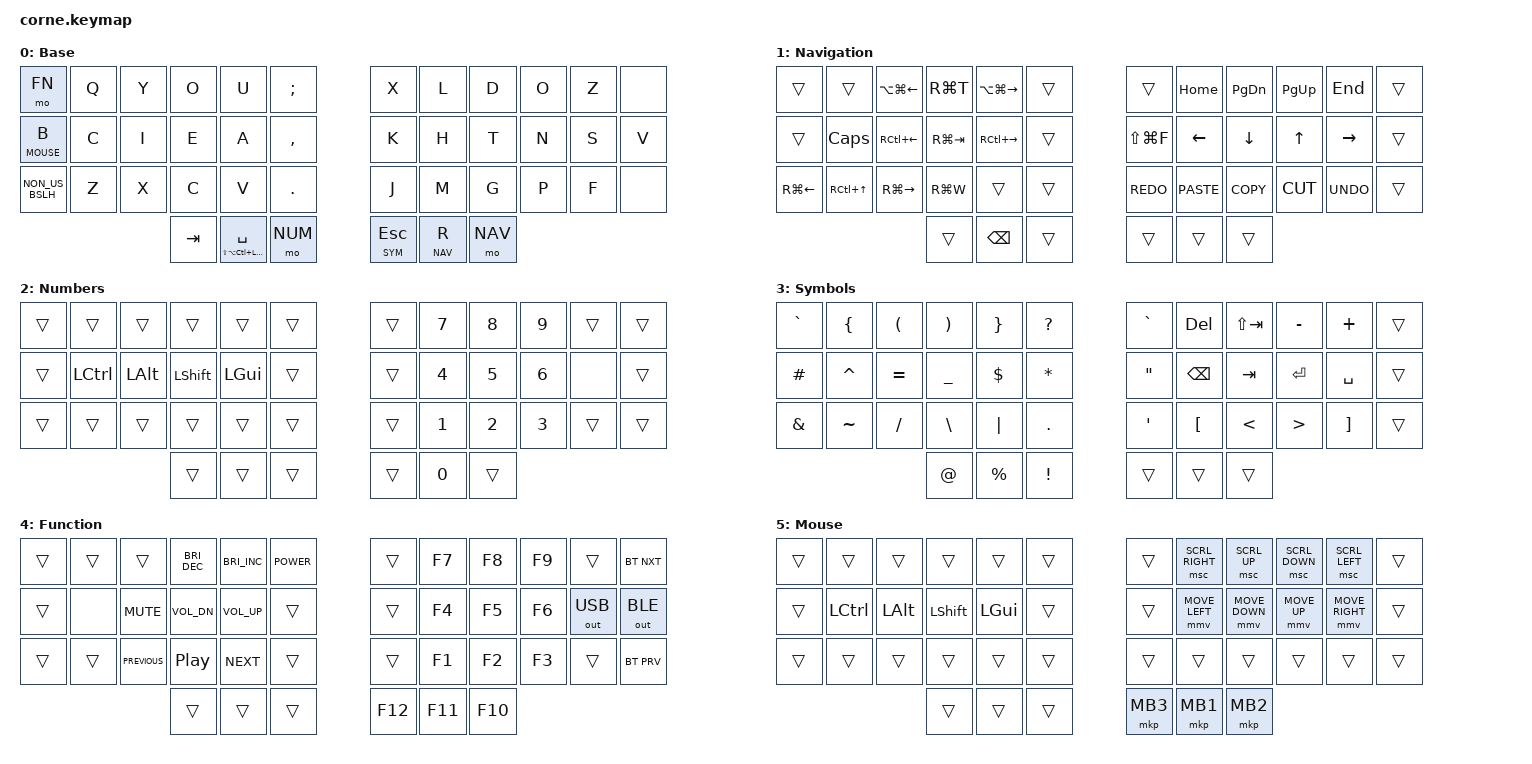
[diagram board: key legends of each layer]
/*
 * Copyright (c) 2020 The ZMK Contributors
 *
 * SPDX-License-Identifier: MIT
 */

#include <behaviors.dtsi>
#include <dt-bindings/zmk/keys.h>
#include <dt-bindings/zmk/bt.h>
#include <dt-bindings/zmk/outputs.h>
#include <dt-bindings/zmk/ext_power.h>

#define ZMK_POINTING_DEFAULT_MOVE_VAL 3000
#define ZMK_POINTING_DEFAULT_SCRL_VAL 3000    // should use the same if smooth scrolling is enabled

#include <dt-bindings/zmk/pointing.h>

#define BASE 0
#define NAV 1
#define NUM 2
#define SYM 3
#define FN 4
#define MOUSE 5

/ {
   keymap {
       compatible = "zmk,keymap";

       base_layer {
           display-name = "Base";
           bindings = <
//    ┌────────────┬───┬───┬───┬─────┬──────────────┐                         ┌──────────┬────────┬───┬───┬───┬─────┐
//    │   mo FN    │ Q │ Y │ O │  U  │      ;       │                         │    X     │   L    │ D │ O │ Z │     │
//    ├────────────┼───┼───┼───┼─────┼──────────────┤                         ├──────────┼────────┼───┼───┼───┼─────┤
//    │ lt MOUSE B │ C │ I │ E │  A  │      ,       │                         │    K     │   H    │ T │ N │ S │  V  │
//    ├────────────┼───┼───┼───┼─────┼──────────────┤                         ├──────────┼────────┼───┼───┼───┼─────┤
//    │     ä      │ Z │ X │ C │  V  │      .       │                         │    J     │   M    │ G │ P │ F │     │
//    └────────────┴───┴───┴───┼─────┼──────────────┼────────┐   ┌────────────┼──────────┼────────┼───┴───┴───┴─────┘
//                             │ tab │ mt hyper spc │ mo NUM │   │ lt SYM esc │ lt NAV R │ mo NAV │
//                             └─────┴──────────────┴────────┘   └────────────┴──────────┴────────┘
  &mo FN            &kp Q   &kp Y   &kp O   &kp U     &kp SEMICOLON                                                &kp X       &kp L     &kp D   &kp O   &kp Z   &none
  &lt MOUSE B       &kp C   &kp I   &kp E   &kp A     &kp COMMA                                                    &kp K       &kp H     &kp T   &kp N   &kp S   &kp V
  &kp NON_US_BSLH   &kp Z   &kp X   &kp C   &kp V     &kp PERIOD                                                   &kp J       &kp M     &kp G   &kp P   &kp F   &none
                                            &kp TAB   &mt LS(LA(LC(LEFT_GUI))) SPACE   &mo NUM       &lt SYM ESC   &lt NAV R   &mo NAV
           >;
       };

       nav_layer {
           bindings = <
//    ┌───────────┬─────────────────┬──────────────┬──────────────┬──────────────┬──────┐               ┌────────────┬───────┬──────┬──────┬──────┬─────┐
//    │           │                 │   Prev tab   │   New tab    │   Next tab   │      │               │            │ home  │ pgdn │ pgup │ end  │     │
//    ├───────────┼─────────────────┼──────────────┼──────────────┼──────────────┼──────┤               ├────────────┼───────┼──────┼──────┼──────┼─────┤
//    │           │      caps       │ Prev desktop │  Switch app  │ Next desktop │      │               │ Fullscreen │ left  │ down │  up  │ rght │     │
//    ├───────────┼─────────────────┼──────────────┼──────────────┼──────────────┼──────┤               ├────────────┼───────┼──────┼──────┼──────┼─────┤
//    │ Prev page │ Mission Control │  Next page   │ Close window │              │      │               │   again    │ paste │ copy │ cut  │ undo │     │
//    └───────────┴─────────────────┴──────────────┴──────────────┼──────────────┼──────┼─────┐   ┌─────┼────────────┼───────┼──────┴──────┴──────┴─────┘
//                                                                │              │ bspc │     │   │     │            │       │
//                                                                └──────────────┴──────┴─────┘   └─────┴────────────┴───────┘
  &trans         &trans         &kp LA(LG(LEFT))   &kp RG(T)     &kp LA(LG(RIGHT))   &trans                           &trans          &kp HOME      &kp PG_DN    &kp PG_UP   &kp END      &trans
  &trans         &kp CAPSLOCK   &kp RC(LEFT)       &kp RG(TAB)   &kp RC(RIGHT)       &trans                           &kp LS(LG(F))   &kp LEFT      &kp DOWN     &kp UP      &kp RIGHT    &trans
  &kp RG(LEFT)   &kp RC(UP)     &kp RG(RIGHT)      &kp RG(W)     &trans              &trans                           &kp K_REDO      &kp K_PASTE   &kp K_COPY   &kp K_CUT   &kp K_UNDO   &trans
                                                                 &trans              &kp BSPC   &trans       &trans   &trans          &trans
           >;

           label = "Navigation";
       };

       num_layer {
           bindings = <
//    ┌─────┬──────┬──────┬──────┬──────┬─────┐               ┌─────┬─────┬───┬───┬─────┬─────┐
//    │     │      │      │      │      │     │               │     │  7  │ 8 │ 9 │     │     │
//    ├─────┼──────┼──────┼──────┼──────┼─────┤               ├─────┼─────┼───┼───┼─────┼─────┤
//    │     │ lctl │ lalt │ lsft │ lgui │     │               │     │  4  │ 5 │ 6 │     │     │
//    ├─────┼──────┼──────┼──────┼──────┼─────┤               ├─────┼─────┼───┼───┼─────┼─────┤
//    │     │      │      │      │      │     │               │     │  1  │ 2 │ 3 │     │     │
//    └─────┴──────┴──────┴──────┼──────┼─────┼─────┐   ┌─────┼─────┼─────┼───┴───┴─────┴─────┘
//                               │      │     │     │   │     │  0  │     │
//                               └──────┴─────┴─────┘   └─────┴─────┴─────┘
  &trans   &trans      &trans     &trans      &trans     &trans                         &trans   &kp N7   &kp N8   &kp N9   &trans   &trans
  &trans   &kp LCTRL   &kp LALT   &kp LSHFT   &kp LGUI   &trans                         &trans   &kp N4   &kp N5   &kp N6   &none    &trans
  &trans   &trans      &trans     &trans      &trans     &trans                         &trans   &kp N1   &kp N2   &kp N3   &trans   &trans
                                              &trans     &trans   &trans       &trans   &kp N0   &trans
           >;

           label = "Numbers";
       };

       sym_layer {
           bindings = <
//    ┌───┬───┬───┬───┬───┬───┐             ┌─────┬──────┬───────────┬─────┬─────┬─────┐
//    │ ` │ { │ ( │ ) │ } │ ? │             │  `  │ del  │ lsft(tab) │  -  │  +  │     │
//    ├───┼───┼───┼───┼───┼───┤             ├─────┼──────┼───────────┼─────┼─────┼─────┤
//    │ # │ ^ │ = │ _ │ $ │ * │             │  "  │ bspc │    tab    │ ent │ spc │     │
//    ├───┼───┼───┼───┼───┼───┤             ├─────┼──────┼───────────┼─────┼─────┼─────┤
//    │ & │ ~ │ / │ \ │ | │ . │             │  '  │  [   │     <     │  >  │  ]  │     │
//    └───┴───┴───┴───┼───┼───┼───┐   ┌─────┼─────┼──────┼───────────┴─────┴─────┴─────┘
//                    │ @ │ % │ ! │   │     │     │      │
//                    └───┴───┴───┘   └─────┴─────┴──────┘
  &kp GRAVE       &kp LEFT_BRACE   &kp LEFT_PARENTHESIS   &kp RIGHT_PARENTHESIS   &kp RIGHT_BRACE   &kp QUESTION                                  &kp GRAVE           &kp DELETE         &kp LS(TAB)     &kp MINUS          &kp PLUS            &trans
  &kp HASH        &kp CARET        &kp EQUAL              &kp UNDERSCORE          &kp DOLLAR        &kp ASTERISK                                  &kp DOUBLE_QUOTES   &kp BACKSPACE      &kp TAB         &kp ENTER          &kp SPACE           &trans
  &kp AMPERSAND   &kp TILDE        &kp SLASH              &kp BACKSLASH           &kp PIPE          &kp DOT                                       &kp SQT             &kp LEFT_BRACKET   &kp LESS_THAN   &kp GREATER_THAN   &kp RIGHT_BRACKET   &trans
                                                                                  &kp AT_SIGN       &kp PERCENT    &kp EXCLAMATION       &trans   &trans              &trans
           >;

           label = "Symbols";
       };

       fn_layer {
           bindings = <
//    ┌─────┬─────┬──────┬──────┬──────┬─────┐               ┌─────┬─────┬────┬────┬─────────┬─────────┐
//    │     │     │      │ bri- │ bri+ │ pwr │               │     │ f7  │ f8 │ f9 │         │ bt_nxt  │
//    ├─────┼─────┼──────┼──────┼──────┼─────┤               ├─────┼─────┼────┼────┼─────────┼─────────┤
//    │     │     │ mute │ vold │ volu │     │               │     │ f4  │ f5 │ f6 │ out_usb │ out_ble │
//    ├─────┼─────┼──────┼──────┼──────┼─────┤               ├─────┼─────┼────┼────┼─────────┼─────────┤
//    │     │     │ prev │ play │ next │     │               │     │ f1  │ f2 │ f3 │         │ bt_prv  │
//    └─────┴─────┴──────┴──────┼──────┼─────┼─────┐   ┌─────┼─────┼─────┼────┴────┴─────────┴─────────┘
//                              │      │     │     │   │ f12 │ f11 │ f10 │
//                              └──────┴─────┴─────┘   └─────┴─────┴─────┘
  &trans   &trans   &trans           &kp C_BRIGHTNESS_DEC   &kp C_BRIGHTNESS_INC   &kp C_POWER                          &trans    &kp F7    &kp F8   &kp F9   &trans         &bt BT_NXT
  &trans   &none    &kp C_MUTE       &kp C_VOL_DN           &kp C_VOLUME_UP        &trans                               &trans    &kp F4    &kp F5   &kp F6   &out OUT_USB   &out OUT_BLE
  &trans   &trans   &kp C_PREVIOUS   &kp C_PLAY_PAUSE       &kp C_NEXT             &trans                               &trans    &kp F1    &kp F2   &kp F3   &trans         &bt BT_PRV
                                                            &trans                 &trans        &trans       &kp F12   &kp F11   &kp F10
           >;

           label = "Function";
       };

       mouse_layer {
           bindings = <
//    ┌─────┬──────┬──────┬──────┬──────┬─────┐                ┌──────┬───────────┬───────────┬───────────┬───────────┬─────┐
//    │     │      │      │      │      │     │                │      │ SCRL_rght │  SCRL_up  │ SCRL_down │ SCRL_left │     │
//    ├─────┼──────┼──────┼──────┼──────┼─────┤                ├──────┼───────────┼───────────┼───────────┼───────────┼─────┤
//    │     │ lctl │ lalt │ lsft │ lgui │     │                │      │ MOVE_left │ MOVE_down │  MOVE_up  │ MOVE_rght │     │
//    ├─────┼──────┼──────┼──────┼──────┼─────┤                ├──────┼───────────┼───────────┼───────────┼───────────┼─────┤
//    │     │      │      │      │      │     │                │      │           │           │           │           │     │
//    └─────┴──────┴──────┴──────┼──────┼─────┼─────┐   ┌──────┼──────┼───────────┼───────────┴───────────┴───────────┴─────┘
//                               │      │     │     │   │ mclk │ lclk │   rclk    │
//                               └──────┴─────┴─────┘   └──────┴──────┴───────────┘
  &trans   &trans      &trans     &trans      &trans     &trans                           &trans     &msc SCRL_RIGHT   &msc SCRL_UP     &msc SCRL_DOWN   &msc SCRL_LEFT    &trans
  &trans   &kp LCTRL   &kp LALT   &kp LSHFT   &kp LGUI   &trans                           &trans     &mmv MOVE_LEFT    &mmv MOVE_DOWN   &mmv MOVE_UP     &mmv MOVE_RIGHT   &trans
  &trans   &trans      &trans     &trans      &trans     &trans                           &trans     &trans            &trans           &trans           &trans            &trans
                                              &trans     &trans   &trans       &mkp MB3   &mkp MB1   &mkp MB2
           >;

           label = "Mouse";
       };
   };
};
/*
qmk:json:start
{
  "layout": [
    "x x x x x x _ _ _ x x x x x x",
    "x x x x x x _ _ _ x x x x x x",
    "x x x x x x _ _ _ x x x x x x",
    "_ _ _ _ x x x _ x x x _ _ _ _"
  ],
  "comment_preview": {
    "position": "top",
    "keymap_overrides": {
      "LS(LA(LC(LEFT_GUI)))": "hyper",
      "NON_US_BSLH": "ä",
      "LA(LG(LEFT))": "Prev tab",
      "RG(T)": "New tab",
      "LA(LG(RIGHT))": "Next tab",
      "RG(TAB)": "Switch app",
      "RC(LEFT)": "Prev desktop",
      "RC(RIGHT)": "Next desktop",
      "RG(W)": "Close window",
      "RG(LEFT)": "Prev page",
      "RG(RIGHT)": "Next page",
      "RC(UP)": "Mission Control",
      "LS(LG(F))": "Fullscreen"
    }
  },
  "variant": "zmk"
}
qmk:json:end
*/
